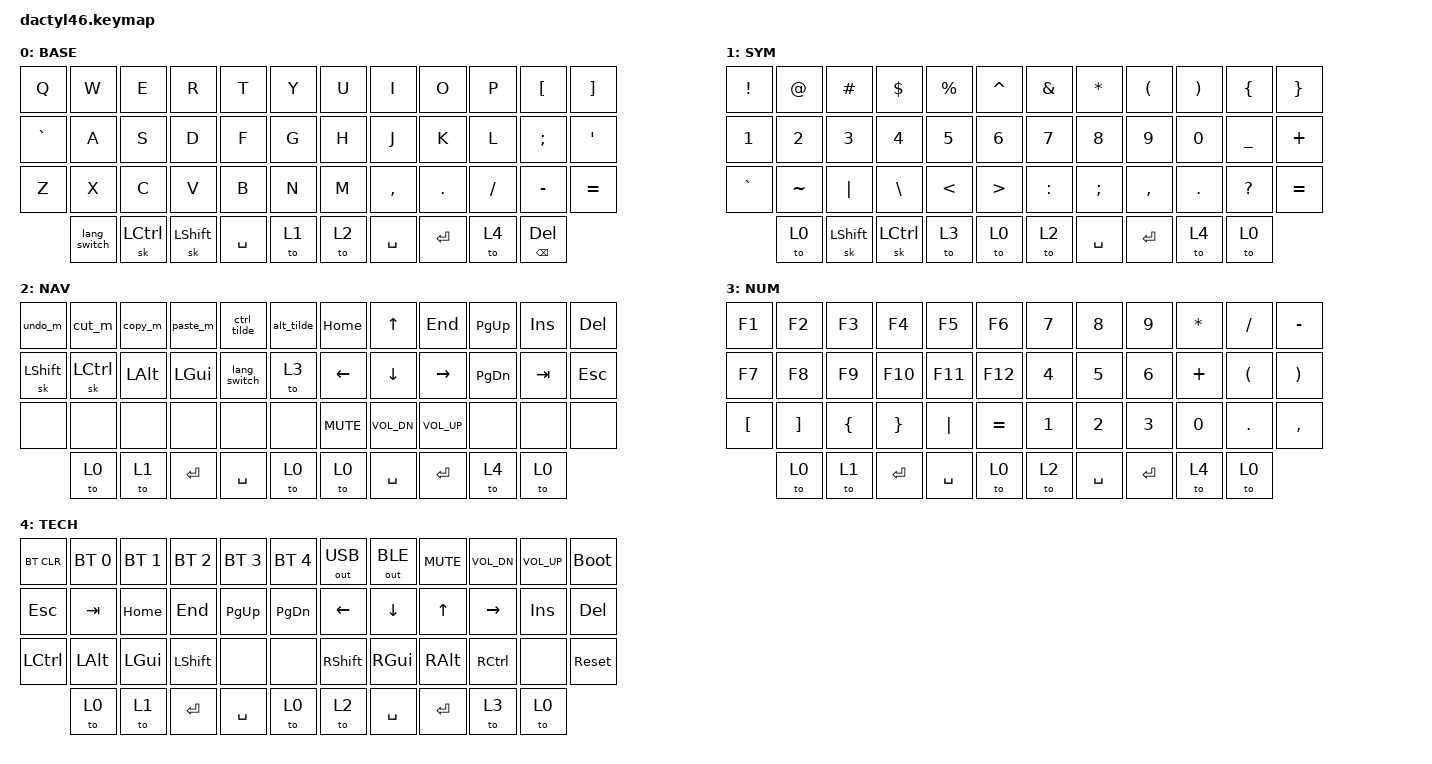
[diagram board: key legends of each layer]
#include <behaviors.dtsi>
#include <dt-bindings/zmk/keys.h>
#include <dt-bindings/zmk/bt.h>
#include <dt-bindings/zmk/outputs.h>

/ {
    macros {
        lang_switch: lang_switch {
            compatible = "zmk,behavior-macro";
            #binding-cells = <0>;
            wait-ms = <0>;
            tap-ms = <30>;
            bindings
                = <&macro_press &kp LALT>
                , <&macro_tap &kp LSHFT>
                , <&macro_release &kp LALT>;
        };

        ctrl_tilde: ctrl_tilde {
            compatible = "zmk,behavior-macro";
            #binding-cells = <0>;
            wait-ms = <0>;
            tap-ms = <30>;
            bindings
                = <&macro_press &kp LCTRL>
                , <&macro_press &kp LSHFT>
                , <&macro_tap &kp GRAVE>
                , <&macro_release &kp LSHFT>
                , <&macro_release &kp LCTRL>;
        };

        alt_tilde: alt_tilde {
            compatible = "zmk,behavior-macro";
            #binding-cells = <0>;
            wait-ms = <0>;
            tap-ms = <30>;
            bindings
                = <&macro_press &kp LALT>
                , <&macro_press &kp LSHFT>
                , <&macro_tap &kp GRAVE>
                , <&macro_release &kp LSHFT>
                , <&macro_release &kp LALT>;
        };

        undo_m: undo_m {
            compatible = "zmk,behavior-macro";
            #binding-cells = <0>;
            wait-ms = <0>;
            tap-ms = <30>;
            bindings
                = <&macro_press &kp LCTRL>
                , <&macro_tap &kp Z>
                , <&macro_release &kp LCTRL>;
        };

        cut_m: cut_m {
            compatible = "zmk,behavior-macro";
            #binding-cells = <0>;
            wait-ms = <0>;
            tap-ms = <30>;
            bindings
                = <&macro_press &kp LCTRL>
                , <&macro_tap &kp X>
                , <&macro_release &kp LCTRL>;
        };

        copy_m: copy_m {
            compatible = "zmk,behavior-macro";
            #binding-cells = <0>;
            wait-ms = <0>;
            tap-ms = <30>;
            bindings
                = <&macro_press &kp LCTRL>
                , <&macro_tap &kp C>
                , <&macro_release &kp LCTRL>;
        };

        paste_m: paste_m {
            compatible = "zmk,behavior-macro";
            #binding-cells = <0>;
            wait-ms = <0>;
            tap-ms = <30>;
            bindings
                = <&macro_press &kp LCTRL>
                , <&macro_tap &kp V>
                , <&macro_release &kp LCTRL>;
        };
    };

    behaviors {
        bspc_del: bspc_del {
            compatible = "zmk,behavior-hold-tap";
            #binding-cells = <2>;
            flavor = "balanced";
            tapping-term-ms = <190>;
            quick-tap-ms = <150>;
            bindings = <&kp>, <&kp>;
        };

        del_bspc: del_bspc {
            compatible = "zmk,behavior-hold-tap";
            #binding-cells = <2>;
            flavor = "balanced";
            tapping-term-ms = <190>;
            quick-tap-ms = <150>;
            bindings = <&kp>, <&kp>;
        };
    };

    combos {
        compatible = "zmk,combos";

        combo_esc {
            timeout-ms = <50>;
            key-positions = <1 2>;
            bindings = <&kp ESC>;
        };

        combo_tab {
            timeout-ms = <50>;
            key-positions = <13 14>;
            bindings = <&kp TAB>;
        };

        combo_caps {
            timeout-ms = <55>;
            key-positions = <25 26>;
            bindings = <&kp CAPS>;
        };
    };

    keymap {
        compatible = "zmk,keymap";

        base_layer {
            display-name = "BASE";
            bindings = <
/* Row 0 */  &kp Q                 &kp W                 &kp E                 &kp R                 &kp T                 &kp Y                 &kp U                 &kp I                 &kp O                 &kp P                 &kp LBKT              &kp RBKT
/* Row 1 */  &kp GRAVE              &kp A                 &kp S                 &kp D                 &kp F                 &kp G                 &kp H                 &kp J                 &kp K                 &kp L                 &kp SEMI              &kp SQT
/* Row 2 */  &kp Z                 &kp X                 &kp C                 &kp V                 &kp B                 &kp N                 &kp M                 &kp COMMA             &kp DOT               &kp SLASH             &kp MINUS             &kp EQUAL
/* Row 3 */                        &lang_switch          &sk LCTRL             &sk LSHIFT            &kp SPACE             &to 1                 &to 2                 &kp SPACE             &kp ENTER             &to 4                 &del_bspc BSPC DEL
            >;
        };

        sym_layer {
            display-name = "SYM";
            bindings = <
/* Row 0 */  &kp EXCL              &kp AT                &kp HASH              &kp DLLR              &kp PRCNT             &kp CARET             &kp AMPS              &kp STAR              &kp LPAR              &kp RPAR              &kp LBRC              &kp RBRC
/* Row 1 */  &kp N1                &kp N2                &kp N3                &kp N4                &kp N5                &kp N6                &kp N7                &kp N8                &kp N9                &kp N0                &kp UNDER             &kp PLUS
/* Row 2 */  &kp GRAVE             &kp TILDE             &kp PIPE              &kp BSLH              &kp LT                &kp GT                &kp COLON             &kp SEMI              &kp COMMA             &kp DOT               &kp QUESTION          &kp EQUAL
/* Row 3 */                        &to 0                 &sk LSHIFT            &sk LCTRL             &to 3                 &to 0                 &to 2                 &kp SPACE             &kp ENTER             &to 4                 &to 0
            >;
        };

        nav_layer {
            display-name = "NAV";
            bindings = <
/* Row 0 */  &undo_m               &cut_m                &copy_m               &paste_m              &ctrl_tilde           &alt_tilde            &kp HOME              &kp UP                &kp END               &kp PG_UP             &kp INS               &kp DEL
/* Row 1 */  &sk LSHIFT            &sk LCTRL             &kp LALT              &kp LGUI              &lang_switch          &to 3                 &kp LEFT              &kp DOWN              &kp RIGHT             &kp PG_DN             &kp TAB               &kp ESC
/* Row 2 */  &none                 &none                 &none                 &none                 &none                 &none                 &kp C_MUTE            &kp C_VOL_DN          &kp C_VOL_UP          &none                 &none                 &none
/* Row 3 */                        &to 0                 &to 1                 &kp ENTER             &kp SPACE             &to 0                 &to 0                 &kp SPACE             &kp ENTER             &to 4                 &to 0
            >;
        };

        num_layer {
            display-name = "NUM";
            bindings = <
/* Row 0 */  &kp F1                &kp F2                &kp F3                &kp F4                &kp F5                &kp F6                &kp N7                &kp N8                &kp N9                &kp STAR              &kp SLASH             &kp MINUS
/* Row 1 */  &kp F7                &kp F8                &kp F9                &kp F10               &kp F11               &kp F12               &kp N4                &kp N5                &kp N6                &kp PLUS              &kp LPAR              &kp RPAR
/* Row 2 */  &kp LBKT              &kp RBKT              &kp LBRC              &kp RBRC              &kp PIPE              &kp EQUAL             &kp N1                &kp N2                &kp N3                &kp N0                &kp DOT               &kp COMMA
/* Row 3 */                        &to 0                 &to 1                 &kp ENTER             &kp SPACE             &to 0                 &to 2                 &kp SPACE             &kp ENTER             &to 4                 &to 0
            >;
        };

        tech_layer {
            display-name = "TECH";
            bindings = <
/* Row 0 */  &bt BT_CLR            &bt BT_SEL 0          &bt BT_SEL 1          &bt BT_SEL 2          &bt BT_SEL 3          &bt BT_SEL 4          &out OUT_USB          &out OUT_BLE          &kp C_MUTE            &kp C_VOL_DN          &kp C_VOL_UP          &bootloader
/* Row 1 */  &kp ESC               &kp TAB               &kp HOME              &kp END               &kp PG_UP             &kp PG_DN             &kp LEFT              &kp DOWN              &kp UP                &kp RIGHT             &kp INS               &kp DEL
/* Row 2 */  &kp LCTRL             &kp LALT              &kp LGUI              &kp LSHIFT            &none                 &none                 &kp RSHIFT            &kp RGUI              &kp RALT              &kp RCTRL             &none                 &sys_reset
/* Row 3 */                        &to 0                 &to 1                 &kp ENTER             &kp SPACE             &to 0                 &to 2                 &kp SPACE             &kp ENTER             &to 3                 &to 0
            >;
        };
    };
};
